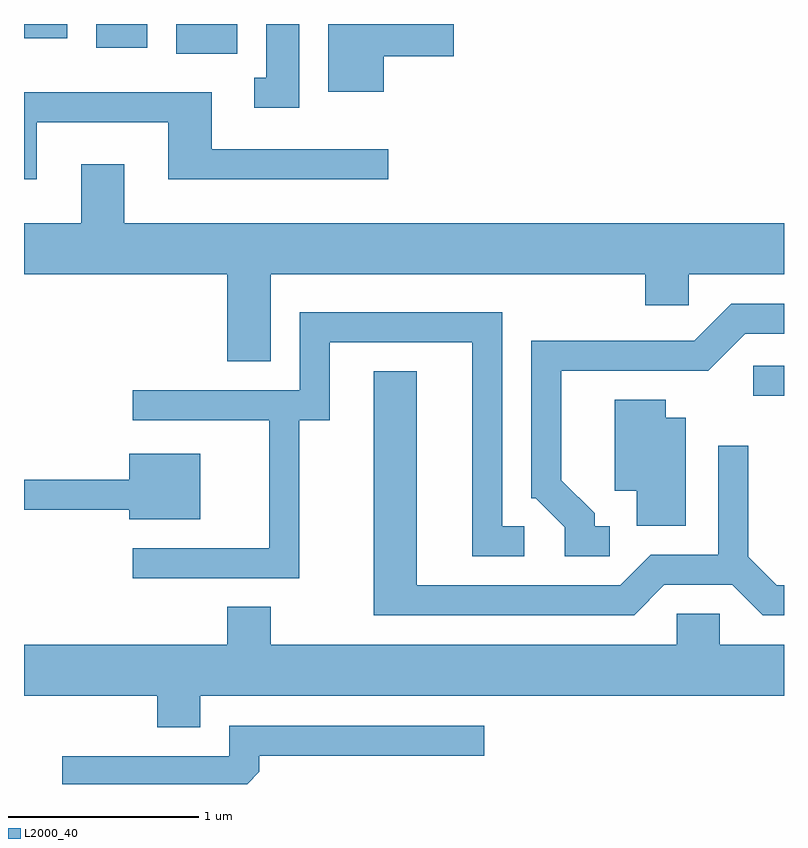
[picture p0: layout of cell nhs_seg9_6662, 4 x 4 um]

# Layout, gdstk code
import gdstk
lib = gdstk.Library(unit=1e-6, precision=1e-09)
def R(c, l, rs):  # rectangles x0, y0, x1, y1
    for r in rs: c.add(gdstk.rectangle(r[:2], r[2:], *l))
def P(c, l, *ps):  # polygons
    for p in ps: c.add(gdstk.Polygon(p, *l))
L2000_40 = (2000, 40)

nhs_seg9_6662 = lib.new_cell('nhs_seg9_6662')
R(nhs_seg9_6662, L2000_40, [(385.448,2024.476,385.611,2024.634), (382.411,2026.276,382.734,2026.432), (381.991,2026.306,382.259,2026.432), (381.611,2026.356,381.839,2026.432)])
P(nhs_seg9_6662, L2000_40, [(383.059,2026.432),(382.886,2026.432),(382.886,2026.149),(382.823,2026.149),(382.823,2025.991),(383.059,2025.991)],
  [(383.504,2026.261),(383.874,2026.261),(383.874,2026.432),(383.211,2026.432),(383.211,2026.076),(383.504,2026.076)],
  [(381.679,2025.916),(382.371,2025.916),(382.371,2025.616),(383.528,2025.616),(383.528,2025.774),(382.599,2025.774),(382.599,2026.074),(381.611,2026.074),(381.611,2025.616),(381.679,2025.616)],
  [(382.909,2025.116),(384.881,2025.116),(384.881,2024.951),(385.109,2024.951),(385.109,2025.116),(385.611,2025.116),(385.611,2025.384),(382.139,2025.384),(382.139,2025.694),(381.911,2025.694),(381.911,2025.384),(381.611,2025.384),(381.611,2025.116),(382.681,2025.116),(382.681,2024.656),(382.909,2024.656)],
  [(384.693,2023.789),(384.614,2023.789),(384.614,2023.857),(384.439,2024.032),(384.439,2024.606),(385.212,2024.606),(385.407,2024.801),(385.611,2024.801),(385.611,2024.959),(385.334,2024.959),(385.139,2024.764),(384.281,2024.764),(384.281,2023.936),(384.304,2023.936),(384.456,2023.784),(384.456,2023.631),(384.693,2023.631)],
  [(383.059,2024.346),(383.219,2024.346),(383.219,2024.756),(383.971,2024.756),(383.971,2023.631),(384.243,2023.631),(384.243,2023.789),(384.129,2023.789),(384.129,2024.914),(383.061,2024.914),(383.061,2024.504),(382.183,2024.504),(382.183,2024.346),(382.901,2024.346),(382.901,2023.674),(382.183,2023.674),(382.183,2023.516),(383.059,2023.516)],
  [(384.982,2023.481),(385.339,2023.481),(385.499,2023.321),(385.611,2023.321),(385.611,2023.479),(385.572,2023.479),(385.424,2023.627),(385.424,2024.213),(385.266,2024.213),(385.266,2023.639),(384.909,2023.639),(384.749,2023.479),(383.679,2023.479),(383.679,2024.604),(383.451,2024.604),(383.451,2023.321),(384.822,2023.321)],
  [(385.094,2024.359),(384.989,2024.359),(384.989,2024.454),(384.721,2024.454),(384.721,2023.976),(384.836,2023.976),(384.836,2023.791),(385.094,2023.791)],
  [(382.539,2024.169),(382.166,2024.169),(382.166,2024.034),(381.611,2024.034),(381.611,2023.876),(382.166,2023.876),(382.166,2023.826),(382.539,2023.826)],
  [(382.539,2022.896),(385.611,2022.896),(385.611,2023.164),(385.274,2023.164),(385.274,2023.329),(385.046,2023.329),(385.046,2023.164),(382.909,2023.164),(382.909,2023.364),(382.681,2023.364),(382.681,2023.164),(381.611,2023.164),(381.611,2022.896),(382.311,2022.896),(382.311,2022.731),(382.539,2022.731)],
  [(382.849,2022.497),(382.849,2022.581),(384.033,2022.581),(384.033,2022.739),(382.691,2022.739),(382.691,2022.579),(381.813,2022.579),(381.813,2022.432),(382.785,2022.432)])

lib.write_gds('nhs_seg9_6662.gds')
